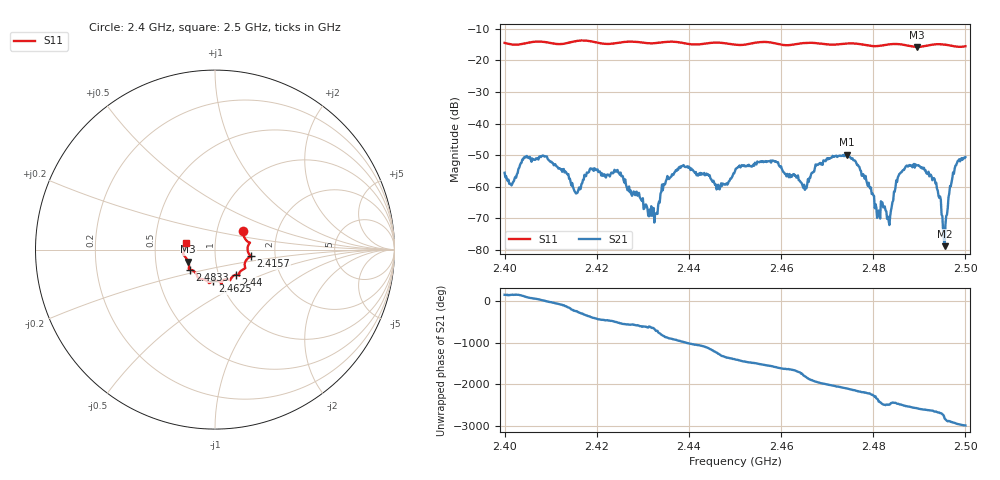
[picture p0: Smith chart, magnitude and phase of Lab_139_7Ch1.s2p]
# Hz S RI R
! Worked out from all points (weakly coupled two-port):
!   601 points, 2.4 GHz to 2.5 GHz, reference 50 ohm
!   highest |S21| = -49.84 dB at 2.4743 GHz (marker M1); lowest = -78.8 dB at 2.4955 GHz (marker M2)
!   lowest |S11| = -15.7 dB at 2.4895 GHz (marker M3), VSWR 1.39, Z = 36.7 - j5.11 ohm
!   |S11| at or under -10 dB: start of sweep to end of sweep
!   S12 and S22 are empty: the file has one direction only
!   S11 on the Smith chart (normalised r, x): 2.4 GHz: 1.33, +0.29; 2.4157 GHz: 1.49, -0.12; 2.44 GHz: 1.21, -0.35; 2.4625 GHz: 0.92, -0.34; 2.4833 GHz: 0.74, -0.17; 2.5 GHz: 0.72, +0.06
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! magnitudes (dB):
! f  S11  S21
! 2.4 GHz  -14.5  -55.5
! 2.4087 GHz  -14.2  -50.4
! 2.4157 GHz  -13.9  -62.0
! 2.4167 GHz  -13.7  -59.1
! 2.4243 GHz  -14.5  -54.8
! 2.4315 GHz  -14.6  -67.2
! 2.4333 GHz  -14.4  -65.7
! 2.435 GHz  -14.2  -58.1
! 2.44 GHz  -14.8  -53.6
! 2.4463 GHz  -14.4  -59.3
! 2.45 GHz  -15.0  -55.0
! 2.4585 GHz  -14.6  -51.8
! 2.4625 GHz  -15.0  -56.4
! 2.4667 GHz  -14.4  -55.6
! 2.4743 GHz  -14.7  -49.8
! 2.4833 GHz  -15.0  -70.6
! 2.4858 GHz  -14.9  -55.7
! 2.4895 GHz  -15.7  -53.2
! 2.4935 GHz  -14.9  -58.9
! 2.4955 GHz  -15.0  -78.8
! 2.4977 GHz  -15.6  -54.3
! 2.5 GHz  -15.5  -50.6
